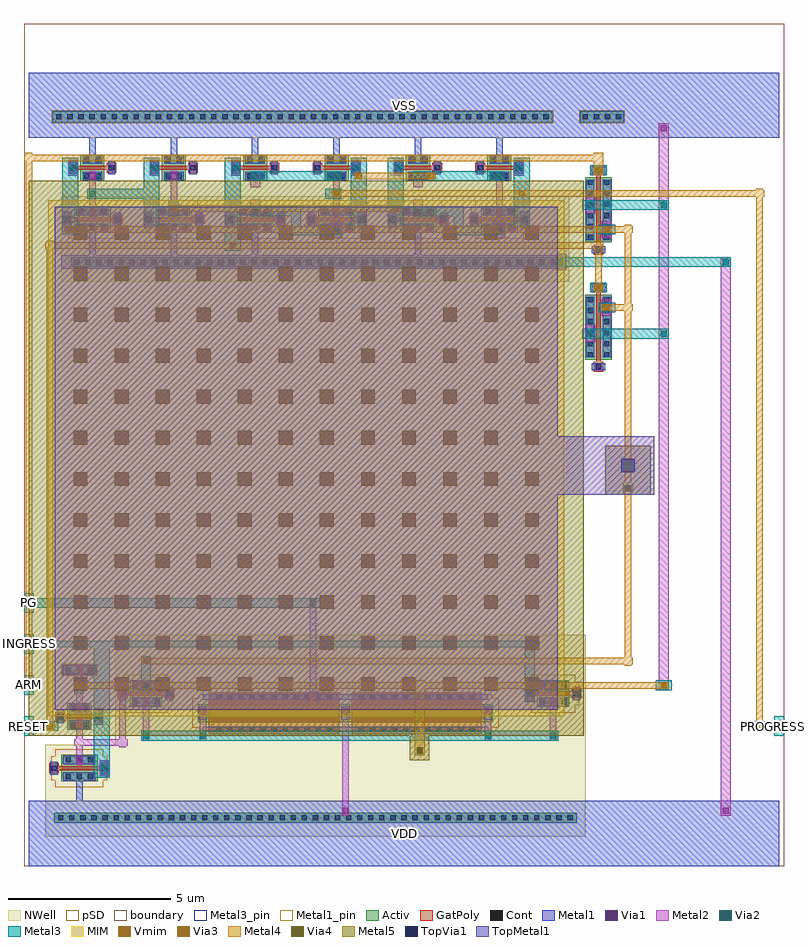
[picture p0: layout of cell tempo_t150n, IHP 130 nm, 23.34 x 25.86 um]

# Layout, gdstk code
from math import pi, radians
import gdstk
lib = gdstk.Library(unit=1e-6, precision=1e-09)
def R(c, l, rs):  # rectangles x0, y0, x1, y1
    for r in rs: c.add(gdstk.rectangle(r[:2], r[2:], *l))
def A(c, l, x, y, w, h, nx, ny, dx, dy):  # array of equal rectangles
    R(c, l, [(x+i*dx, y+j*dy, x+i*dx+w, y+j*dy+h) for i in range(nx) for j in range(ny)])
Activ = (1, 0)
GatPoly = (5, 0)
Cont = (6, 0)
Metal1 = (8, 0)
Metal1_pin = (8, 2)
Metal2 = (10, 0)
pSD = (14, 0)
Via1 = (19, 0)
Via2 = (29, 0)
Metal3 = (30, 0)
Metal3_pin = (30, 2)
NWell = (31, 0)
MIM = (36, 0)
Via3 = (49, 0)
Metal4 = (50, 0)
Via4 = (66, 0)
Metal5 = (67, 0)
TopVia1 = (125, 0)
TopMetal1 = (126, 0)
Vmim = (129, 0)
boundary = (189, 4)

sg13_lv_pmos_gq4csk = lib.new_cell('sg13_lv_pmos_GQ4CSK')
R(sg13_lv_pmos_gq4csk, Activ, [(-4.53,-0.275,4.53,0.275)])
R(sg13_lv_pmos_gq4csk, GatPoly, [(-4.19,-0.645,-0.19,0.645), (0.19,-0.645,4.19,0.645)])
A(sg13_lv_pmos_gq4csk, Cont, -3.97, -0.575, 0.16, 0.16, 11, 2, 0.34, 0.99)
A(sg13_lv_pmos_gq4csk, Cont, 0.41, -0.575, 0.16, 0.16, 11, 2, 0.34, 0.99)
A(sg13_lv_pmos_gq4csk, Cont, -4.46, -0.08, 0.16, 0.16, 3, 1, 4.38, 0)
A(sg13_lv_pmos_gq4csk, Metal1, -4.51, -0.205, 0.26, 0.41, 3, 1, 4.38, 0)
R(sg13_lv_pmos_gq4csk, Metal1, [(-4.38,-0.575,4.38,-0.415), (-4.38,0.415,4.38,0.575)])
R(sg13_lv_pmos_gq4csk, pSD, [(-4.49,-0.575,4.49,-0.455), (-4.71,-0.455,4.71,0.455), (-4.49,0.455,4.49,0.575)])
R(sg13_lv_pmos_gq4csk, NWell, [(-4.84,-0.585,4.84,0.585)])
sg13_lv_pmos_gq4csk.add(gdstk.Label('D0', (-4.38,0), layer=8, texttype=25))
sg13_lv_pmos_gq4csk.add(gdstk.Label('G', (2.19,0.495), layer=8, texttype=25))
sg13_lv_pmos_gq4csk.add(gdstk.Label('G', (-2.19,0.495), layer=8, texttype=25))
sg13_lv_pmos_gq4csk.add(gdstk.Label('S1', (0,0), layer=8, texttype=25))

sg13_lv_nmos_4cavwe_3 = lib.new_cell('sg13_lv_nmos_4CAVWE$3')
R(sg13_lv_nmos_4cavwe_3, Activ, [(-0.405,-1,0.405,1)])
R(sg13_lv_nmos_4cavwe_3, GatPoly, [(-0.15,-1.37,0.15,-1.07), (-0.065,-1.07,0.065,1.07), (-0.15,1.07,0.15,1.37)])
A(sg13_lv_nmos_4cavwe_3, Cont, -0.335, -0.93, 0.16, 0.16, 1, 6, 0, 0.34)
A(sg13_lv_nmos_4cavwe_3, Cont, 0.175, -0.93, 0.16, 0.16, 1, 6, 0, 0.34)
R(sg13_lv_nmos_4cavwe_3, Cont, [(-0.08,-1.3,0.08,-1.14), (-0.08,1.14,0.08,1.3)])
R(sg13_lv_nmos_4cavwe_3, Metal1, [(-0.13,-1.3,0.13,-1.14), (-0.385,-0.93,-0.125,0.93), (0.125,-0.93,0.385,0.93), (-0.13,1.14,0.13,1.3)])
sg13_lv_nmos_4cavwe_3.add(gdstk.Label('D', (-0.255,0), layer=8, texttype=25))
sg13_lv_nmos_4cavwe_3.add(gdstk.Label('S', (0.255,0), layer=8, texttype=25))
sg13_lv_nmos_4cavwe_3.add(gdstk.Label('G', (0,1.22), layer=8, texttype=25))

cap_cmim_5q4umx_3 = lib.new_cell('cap_cmim_5Q4UMX$3')
R(cap_cmim_5q4umx_3, MIM, [(-7.92,-7.92,7.92,7.92)])
R(cap_cmim_5q4umx_3, Metal5, [(-8.52,-8.52,8.52,8.52)])
R(cap_cmim_5q4umx_3, TopMetal1, [(-7.72,-7.72,7.72,7.72)])
A(cap_cmim_5q4umx_3, Vmim, -7.14, -7.14, 0.42, 0.42, 12, 12, 1.26, 1.26)
R(cap_cmim_5q4umx_3, boundary, [(-8.52,-8.52,8.52,8.52)])
cap_cmim_5q4umx_3.add(gdstk.Label('C2', (8.02,0), layer=67, texttype=25))
cap_cmim_5q4umx_3.add(gdstk.Label('C1', (0,0), layer=126, texttype=25))

sg13_lv_pmos_kekpkp_3 = lib.new_cell('sg13_lv_pmos_KEKPKP$3')
R(sg13_lv_pmos_kekpkp_3, Activ, [(-0.405,-0.5,0.405,0.5)])
R(sg13_lv_pmos_kekpkp_3, GatPoly, [(-0.15,-0.87,0.15,-0.57), (-0.065,-0.57,0.065,0.57), (-0.15,0.57,0.15,0.87)])
A(sg13_lv_pmos_kekpkp_3, Cont, -0.335, -0.42, 0.16, 0.16, 1, 3, 0, 0.34)
A(sg13_lv_pmos_kekpkp_3, Cont, 0.175, -0.42, 0.16, 0.16, 1, 3, 0, 0.34)
R(sg13_lv_pmos_kekpkp_3, Cont, [(-0.08,-0.8,0.08,-0.64), (-0.08,0.64,0.08,0.8)])
R(sg13_lv_pmos_kekpkp_3, Metal1, [(-0.13,-0.8,0.13,-0.64), (-0.385,-0.43,-0.125,0.43), (0.125,-0.43,0.385,0.43), (-0.13,0.64,0.13,0.8)])
R(sg13_lv_pmos_kekpkp_3, pSD, [(-0.365,-0.8,0.365,-0.68), (-0.585,-0.68,0.585,0.68), (-0.365,0.68,0.365,0.8)])
R(sg13_lv_pmos_kekpkp_3, NWell, [(-0.715,-0.81,0.715,0.81)])
sg13_lv_pmos_kekpkp_3.add(gdstk.Label('D', (-0.255,0), layer=8, texttype=25))
sg13_lv_pmos_kekpkp_3.add(gdstk.Label('S', (0.255,0), layer=8, texttype=25))
sg13_lv_pmos_kekpkp_3.add(gdstk.Label('G', (0,0.72), layer=8, texttype=25))

sg13_lv_nmos_uws3xh_3 = lib.new_cell('sg13_lv_nmos_UWS3XH$3')
R(sg13_lv_nmos_uws3xh_3, Activ, [(-0.405,-0.37,0.405,0.37)])
R(sg13_lv_nmos_uws3xh_3, GatPoly, [(-0.15,-0.74,0.15,-0.44), (-0.065,-0.44,0.065,0.44), (-0.15,0.44,0.15,0.74)])
R(sg13_lv_nmos_uws3xh_3, Cont, [(-0.08,-0.67,0.08,-0.51), (-0.335,-0.25,-0.175,-0.09), (0.175,-0.25,0.335,-0.09), (-0.335,0.09,-0.175,0.25), (0.175,0.09,0.335,0.25), (-0.08,0.51,0.08,0.67)])
R(sg13_lv_nmos_uws3xh_3, Metal1, [(-0.13,-0.67,0.13,-0.51), (-0.385,-0.3,-0.125,0.3), (0.125,-0.3,0.385,0.3), (-0.13,0.51,0.13,0.67)])
sg13_lv_nmos_uws3xh_3.add(gdstk.Label('D', (-0.255,0), layer=8, texttype=25))
sg13_lv_nmos_uws3xh_3.add(gdstk.Label('S', (0.255,0), layer=8, texttype=25))
sg13_lv_nmos_uws3xh_3.add(gdstk.Label('G', (0,0.59), layer=8, texttype=25))

sg13_lv_pmos_su5un3_3 = lib.new_cell('sg13_lv_pmos_SU5UN3$3')
R(sg13_lv_pmos_su5un3_3, Activ, [(-0.405,-0.56,0.405,0.56)])
R(sg13_lv_pmos_su5un3_3, GatPoly, [(-0.15,-0.93,0.15,-0.63), (-0.065,-0.63,0.065,0.63), (-0.15,0.63,0.15,0.93)])
A(sg13_lv_pmos_su5un3_3, Cont, -0.335, -0.42, 0.16, 0.16, 1, 3, 0, 0.34)
A(sg13_lv_pmos_su5un3_3, Cont, 0.175, -0.42, 0.16, 0.16, 1, 3, 0, 0.34)
R(sg13_lv_pmos_su5un3_3, Cont, [(-0.08,-0.86,0.08,-0.7), (-0.08,0.7,0.08,0.86)])
R(sg13_lv_pmos_su5un3_3, Metal1, [(-0.13,-0.86,0.13,-0.7), (-0.385,-0.49,-0.125,0.49), (0.125,-0.49,0.385,0.49), (-0.13,0.7,0.13,0.86)])
R(sg13_lv_pmos_su5un3_3, pSD, [(-0.365,-0.86,0.365,-0.74), (-0.585,-0.74,0.585,0.74), (-0.365,0.74,0.365,0.86)])
R(sg13_lv_pmos_su5un3_3, NWell, [(-0.715,-0.87,0.715,0.87)])
sg13_lv_pmos_su5un3_3.add(gdstk.Label('D', (-0.255,0), layer=8, texttype=25))
sg13_lv_pmos_su5un3_3.add(gdstk.Label('S', (0.255,0), layer=8, texttype=25))
sg13_lv_pmos_su5un3_3.add(gdstk.Label('G', (0,0.78), layer=8, texttype=25))

tempo_t150n = lib.new_cell('tempo_t150n')
R(tempo_t150n, Activ, [(0.93,1.33,16.97,1.63), (1.18,5.88,2.22,6.18), (1.43,18.4,16.42,18.7), (0.88,22.84,16.22,23.18), (17.08,22.84,18.42,23.18)])
A(tempo_t150n, Cont, 1.05, 1.4, 0.16, 0.16, 47, 1, 0.34, 0)
A(tempo_t150n, Cont, 1.28, 5.95, 0.16, 0.16, 3, 1, 0.34, 0)
A(tempo_t150n, Cont, 1.535, 18.47, 0.16, 0.16, 44, 1, 0.34, 0)
A(tempo_t150n, Cont, 0.99, 22.93, 0.16, 0.16, 45, 1, 0.34, 0)
A(tempo_t150n, Cont, 17.16, 22.93, 0.16, 0.16, 4, 1, 0.34, 0)
A(tempo_t150n, Metal1, 5.36, 4.515, 0.26, 0.36, 3, 1, 4.38, 0)
A(tempo_t150n, Metal1, 2, 18.75, 0.2, 0.85, 3, 1, 2.5, 0)
A(tempo_t150n, Metal1, 2, 20.01, 0.2, 0.2, 6, 2, 2.5, 1.08)
A(tempo_t150n, Metal1, 2, 21.7, 0.2, 0.66, 6, 1, 2.5, 0)
R(tempo_t150n, Metal1, [(0.15,0,23.19,2), (1.6,2,1.8,2.75), (0.81,2.8,1.03,3.21), (2.37,2.8,2.59,3.21), (1.6,3.16,1.8,3.36), (1.6,4.24,1.8,4.44), (1,4.39,1.22,4.8), (2.18,4.39,2.4,4.8), (1.6,4.75,1.8,4.95), (3.65,4.94,3.85,5.14), (16.15,4.94,16.35,5.14), (8.72,5.04,9.02,5.34), (2.92,5.09,3.14,5.5), (4.36,5.09,4.58,5.5), (15.42,5.09,15.64,5.5), (16.86,5.09,17.08,5.5), (3.65,5.45,3.85,5.65), (16.15,5.45,16.35,5.65), (1.2,5.9,2.2,6.16), (17.44,15.22,17.85,15.44), (17.29,16.25,17.49,16.45), (17.8,17.05,18,17.25), (17.44,17.66,17.85,17.88), (1.15,18.35,16.65,18.75), (12,18.75,12.2,19.6), (17.44,18.82,17.85,19.04), (17.8,19.45,18,19.65), (9.5,19.5,9.7,19.7), (14.5,19.5,14.7,19.7), (1.21,19.65,1.43,20.06), (2.77,19.65,2.99,20.06), (3.71,19.65,3.93,20.06), (5.27,19.65,5.49,20.06), (6.21,19.65,6.43,20.06), (7.77,19.65,7.99,20.06), (8.71,19.65,8.93,20.06), (10.27,19.65,10.49,20.06), (11.21,19.65,11.43,20.06), (12.77,19.65,12.99,20.06), (13.71,19.65,13.93,20.06), (15.27,19.65,15.49,20.06), (17.29,20.2,17.49,20.4), (1.4,21.24,1.62,21.65), (2.58,21.24,2.8,21.65), (3.9,21.24,4.12,21.65), (5.08,21.24,5.3,21.65), (6.4,21.24,6.62,21.65), (7.58,21.24,7.8,21.65), (8.9,21.24,9.12,21.65), (10.08,21.24,10.3,21.65), (11.4,21.24,11.62,21.65), (12.58,21.24,12.8,21.65), (13.9,21.24,14.12,21.65), (15.08,21.24,15.3,21.65), (17.44,21.26,17.85,21.48), (0.15,22.36,23.19,24.36)])
R(tempo_t150n, Metal1_pin, [(0.15,0,23.19,2), (0.15,22.36,23.19,24.36)])
A(tempo_t150n, Metal2, 1.17, 19.605, 0.3, 0.5, 3, 1, 2.5, 0)
A(tempo_t150n, Metal2, 4.5, 19.96, 0.2, 1.38, 3, 1, 5, 0)
A(tempo_t150n, Metal2, 1.36, 21.195, 0.3, 0.5, 3, 1, 2.5, 0)
R(tempo_t150n, Metal2, [(9.77,1.55,9.97,4.845), (21.4,1.55,21.7,18.7), (2.33,2.755,2.63,3.255), (1.6,3.11,1.8,3.7), (2.93,3.65,3.13,3.7), (1.55,3.7,3.18,3.9), (3.65,3.85,3.85,5.19), (5.39,3.85,5.59,4.845), (14.15,3.85,14.35,4.845), (16.15,3.85,16.35,5.19), (1.6,3.9,1.8,4.49), (2.93,3.9,3.13,5.445), (2.14,4.345,2.44,4.845), (1.6,4.7,1.8,6.18), (8.77,5.04,8.97,8.23), (15.38,5.045,15.68,5.545), (3.5,5.4,4,5.7), (16,5.4,16.5,5.7), (19.5,5.4,19.8,22.81), (17.24,16.1,17.54,16.6), (17.75,16.9,18.05,17.4), (17.395,17.62,17.895,17.92), (16.35,18.3,16.65,18.8), (9.42,19.3,9.78,19.75), (14.42,19.3,14.78,19.75), (17.75,19.3,18.05,19.8), (10.23,19.605,10.53,20.105), (11.17,19.605,11.47,20.105), (15.23,19.605,15.53,20.105), (2,19.96,2.2,21.34), (6.95,19.96,7.25,20.46), (11.95,19.96,12.25,20.46), (17.24,20.05,17.54,20.55), (6.95,20.84,7.25,21.34), (11.95,20.84,12.25,21.34), (10.04,21.195,10.34,21.695), (11.36,21.195,11.66,21.695), (15.04,21.195,15.34,21.695), (17.395,21.22,17.895,21.52)])
R(tempo_t150n, pSD, [(1.15,5.85,2.25,6.21), (0.85,22.81,16.25,23.21), (17.05,22.81,18.45,23.21)])
A(tempo_t150n, Via1, 5.395, 4.6, 0.19, 0.19, 3, 1, 4.38, 0)
A(tempo_t150n, Via1, 1.225, 19.76, 0.19, 0.19, 3, 1, 2.5, 0)
A(tempo_t150n, Via1, 2.005, 20.015, 0.19, 0.19, 6, 2, 2.5, 1.08)
A(tempo_t150n, Via1, 1.415, 21.35, 0.19, 0.19, 3, 1, 2.5, 0)
R(tempo_t150n, Via1, [(9.775,1.605,9.965,1.795), (21.455,1.605,21.645,1.795), (2.385,2.91,2.575,3.1), (1.605,3.165,1.795,3.355), (1.605,4.245,1.795,4.435), (2.195,4.5,2.385,4.69), (1.605,4.755,1.795,4.945), (3.655,4.945,3.845,5.135), (16.155,4.945,16.345,5.135), (8.775,5.095,8.965,5.285), (2.935,5.2,3.125,5.39), (15.435,5.2,15.625,5.39), (3.655,5.455,3.845,5.645), (16.155,5.455,16.345,5.645), (1.605,5.935,1.795,6.125), (17.295,16.255,17.485,16.445), (17.805,17.055,17.995,17.245), (17.55,17.675,17.74,17.865), (16.405,18.455,16.595,18.645), (17.805,19.455,17.995,19.645), (9.505,19.505,9.695,19.695), (14.505,19.505,14.695,19.695), (10.285,19.76,10.475,19.95), (11.225,19.76,11.415,19.95), (15.285,19.76,15.475,19.95), (17.295,20.205,17.485,20.395), (17.55,21.275,17.74,21.465), (10.095,21.35,10.285,21.54), (11.415,21.35,11.605,21.54), (15.095,21.35,15.285,21.54), (19.555,22.565,19.745,22.755)])
A(tempo_t150n, Via2, 1.225, 19.76, 0.19, 0.19, 3, 1, 2.5, 0)
A(tempo_t150n, Via2, 7.005, 21.095, 0.19, 0.19, 4, 1, 2.5, 0)
A(tempo_t150n, Via2, 1.415, 21.35, 0.19, 0.19, 3, 1, 2.5, 0)
R(tempo_t150n, Via2, [(2.385,2.91,2.575,3.1), (3.655,3.905,3.845,4.095), (5.395,3.905,5.585,4.095), (14.155,3.905,14.345,4.095), (16.155,3.905,16.345,4.095), (2.195,4.5,2.385,4.69), (15.435,5.2,15.625,5.39), (1.605,5.455,1.795,5.645), (3.655,5.455,3.845,5.645), (16.155,5.455,16.345,5.645), (19.555,5.455,19.745,5.645), (8.775,7.985,8.965,8.175), (17.295,16.255,17.485,16.445), (19.555,16.255,19.745,16.445), (17.805,17.055,17.995,17.245), (17.55,17.675,17.74,17.865), (16.405,18.455,16.595,18.645), (21.455,18.455,21.645,18.645), (9.505,19.425,9.695,19.615), (14.505,19.425,14.695,19.615), (17.805,19.455,17.995,19.645), (10.285,19.76,10.475,19.95), (11.225,19.76,11.415,19.95), (15.285,19.76,15.475,19.95), (7.005,20.015,7.195,20.205), (12.005,20.015,12.195,20.205), (4.505,20.105,4.695,20.295), (17.295,20.205,17.485,20.395), (19.555,20.205,19.745,20.395), (2.005,20.555,2.195,20.745), (9.505,20.555,9.695,20.745), (17.55,21.275,17.74,21.465), (10.095,21.35,10.285,21.54), (11.415,21.35,11.605,21.54), (15.095,21.35,15.285,21.54)])
R(tempo_t150n, Metal3, [(2.14,2.705,2.63,6.72), (3.6,3.85,16.4,4.15), (0,4,0.3,4.15), (23.04,4,23.34,4.15), (0,4.15,1.05,4.45), (22.34,4.15,23.34,4.45), (0,4.45,0.3,4.6), (23.04,4.45,23.34,4.6), (15.38,5.045,15.68,6.72), (0,5.26,0.3,5.86), (1.55,5.3,1.85,5.8), (3.6,5.4,3.9,6.45), (16,5.4,16.5,5.7), (19.4,5.4,19.9,5.7), (0,6.52,0.3,6.72), (0,6.72,15.83,6.92), (0,6.92,0.3,7.12), (0,7.78,0.3,7.93), (0,7.93,9.12,8.23), (0,8.23,0.3,8.38), (17.14,16.2,19.8,16.5), (17.65,17,18.15,17.3), (17.395,17.62,17.895,17.92), (16.35,18.4,21.7,18.7), (6.17,18.9,6.66,21.745), (8.2,19.37,9.75,19.67), (13.2,19.37,14.75,19.67), (1.17,19.4,1.66,21.745), (17.65,19.4,18.15,19.7), (3.67,19.555,4.16,20.5), (10.04,19.555,10.53,21.745), (11.17,19.555,11.66,21.745), (15.04,19.555,15.53,21.745), (8.2,19.67,8.5,19.96), (13.2,19.67,13.5,19.96), (4.45,19.95,4.75,20.45), (6.95,19.96,8.5,20.26), (11.95,19.96,13.5,20.26), (17.14,20.15,19.8,20.45), (1.95,20.5,4.16,20.8), (9.25,20.5,9.75,20.8), (3.67,20.8,4.16,21.745), (6.95,21.04,9.75,21.34), (11.95,21.04,14.75,21.34), (17.395,21.22,17.895,21.52)])
A(tempo_t150n, Metal3_pin, 0, 4, 0.3, 0.6, 1, 4, 0, 1.26)
R(tempo_t150n, Metal3_pin, [(23.04,4,23.34,4.6)])
R(tempo_t150n, NWell, [(0.65,0.9,17.25,3.725), (2.8,3.725,17.25,7.1), (1.15,17.95,16.75,20.57)])
R(tempo_t150n, Via3, [(0.705,4.205,0.895,4.395), (22.495,4.205,22.685,4.395), (1.605,5.455,1.795,5.645), (16.155,5.455,16.345,5.645), (19.555,5.455,19.745,5.645), (0.055,5.465,0.245,5.655), (3.655,6.205,3.845,6.395), (17.805,17.055,17.995,17.245), (17.55,17.675,17.74,17.865), (6.32,18.955,6.51,19.145), (1.32,19.455,1.51,19.645), (17.805,19.455,17.995,19.645), (4.505,20.105,4.695,20.295), (11.32,20.105,11.51,20.295), (9.505,20.555,9.695,20.745), (15.19,20.555,15.38,20.745), (10.19,21.095,10.38,21.285), (12.405,21.095,12.595,21.285), (17.55,21.275,17.74,21.465)])
R(tempo_t150n, Metal4, [(12,3.4,12.3,5.45), (0.65,4.15,0.95,4.45), (22.49,4.15,22.69,20.55), (0.7,4.45,0.9,18.95), (0,5.41,0.3,5.71), (1.55,5.45,19.8,5.65), (12,5.65,12.3,5.7), (0.05,5.71,0.25,21.65), (18.45,6.15,18.65,6.2), (3.6,6.2,18.7,6.4), (18.45,6.4,18.65,11.45), (18.4,11.45,18.7,11.75), (18.45,11.75,18.65,17.05), (17.75,17.05,18.7,17.25), (18.45,17.25,18.65,19.45), (17.545,17.62,17.745,17.67), (17.495,17.67,17.795,17.87), (17.545,17.87,17.745,18.95), (0.65,18.95,17.795,19.15), (0.7,19.15,0.9,19.2), (17.545,19.15,17.745,19.2), (1.265,19.45,18.7,19.65), (18.45,19.65,18.65,19.7), (4.45,20.1,11.565,20.3), (9.45,20.55,22.74,20.75), (22.49,20.75,22.69,20.8), (10.135,21.09,12.65,21.29), (17.495,21.22,17.795,21.65), (0,21.65,17.795,21.85), (0.05,21.85,0.25,21.9), (17.495,21.85,17.795,21.9)])
R(tempo_t150n, Via4, [(12.055,3.455,12.245,3.645), (18.455,11.505,18.645,11.695)])
R(tempo_t150n, Metal5, [(11.85,3.25,12.45,4.1), (17.85,11.4,19.25,12.9)])
R(tempo_t150n, TopVia1, [(18.34,12.09,18.76,12.51)])
R(tempo_t150n, TopMetal1, [(14.95,11.4,19.35,13.2)])
R(tempo_t150n, boundary, [(0,0,23.34,25.86)])
tempo_t150n.add(gdstk.Reference(sg13_lv_pmos_gq4csk, (9.87,4.695)))
tempo_t150n.add(gdstk.Reference(sg13_lv_nmos_4cavwe_3, (17.645,16.55), rotation=pi))
tempo_t150n.add(gdstk.Reference(sg13_lv_nmos_4cavwe_3, (17.645,20.15), rotation=pi))
tempo_t150n.add(gdstk.Reference(cap_cmim_5q4umx_3, (8.67,12.52)))
tempo_t150n.add(gdstk.Reference(sg13_lv_pmos_kekpkp_3, (16.25,5.295), rotation=3*pi/2))
tempo_t150n.add(gdstk.Reference(sg13_lv_pmos_kekpkp_3, (3.75,5.295), rotation=3*pi/2))
tempo_t150n.add(gdstk.Reference(sg13_lv_nmos_uws3xh_3, (12.1,21.445), rotation=pi/2))
tempo_t150n.add(gdstk.Reference(sg13_lv_nmos_uws3xh_3, (4.6,21.445), rotation=pi/2))
tempo_t150n.add(gdstk.Reference(sg13_lv_nmos_uws3xh_3, (2.1,21.445), rotation=pi/2))
tempo_t150n.add(gdstk.Reference(sg13_lv_nmos_uws3xh_3, (14.6,21.445), rotation=pi/2))
tempo_t150n.add(gdstk.Reference(sg13_lv_nmos_uws3xh_3, (9.6,21.445), rotation=pi/2))
tempo_t150n.add(gdstk.Reference(sg13_lv_nmos_uws3xh_3, (7.1,21.445), rotation=pi/2))
tempo_t150n.add(gdstk.Reference(sg13_lv_nmos_uws3xh_3, (1.7,4.595), rotation=pi/2))
tempo_t150n.add(gdstk.Reference(sg13_lv_pmos_su5un3_3, (1.7,3.005), rotation=3*pi/2))
tempo_t150n.add(gdstk.Reference(sg13_lv_pmos_su5un3_3, (4.6,19.855), rotation=3*pi/2))
tempo_t150n.add(gdstk.Reference(sg13_lv_pmos_su5un3_3, (2.1,19.855), rotation=3*pi/2))
tempo_t150n.add(gdstk.Reference(sg13_lv_pmos_su5un3_3, (14.6,19.855), rotation=3*pi/2))
tempo_t150n.add(gdstk.Reference(sg13_lv_pmos_su5un3_3, (12.1,19.855), rotation=3*pi/2))
tempo_t150n.add(gdstk.Reference(sg13_lv_pmos_su5un3_3, (9.6,19.855), rotation=3*pi/2))
tempo_t150n.add(gdstk.Reference(sg13_lv_pmos_su5un3_3, (7.1,19.855), rotation=3*pi/2))
tempo_t150n.add(gdstk.Label('VDD', (11.67,1), layer=8, texttype=25))
tempo_t150n.add(gdstk.Label('VSS', (11.67,23.36), layer=8, texttype=25))
tempo_t150n.add(gdstk.Label('RESET', (0.15,4.3), layer=30, texttype=25))
tempo_t150n.add(gdstk.Label('ARM', (0.15,5.56), layer=30, texttype=25))
tempo_t150n.add(gdstk.Label('INGRESS', (0.15,6.82), layer=30, texttype=25))
tempo_t150n.add(gdstk.Label('PG', (0.15,8.08), layer=30, texttype=25))
tempo_t150n.add(gdstk.Label('PROGRESS', (23.19,4.3), layer=30, texttype=25))

lib.write_gds('tempo_t150n.gds')
